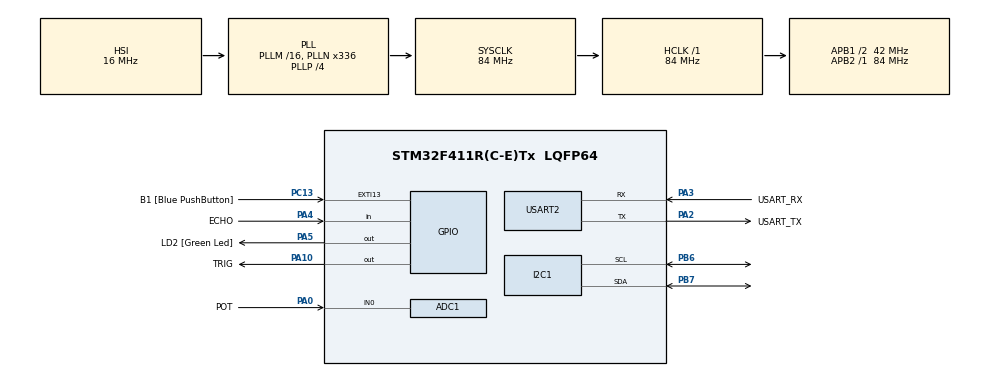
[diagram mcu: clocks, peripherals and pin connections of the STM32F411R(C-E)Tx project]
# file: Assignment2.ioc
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ADC1.Channel-1\#ChannelRegularConversion=ADC_CHANNEL_0
ADC1.NbrOfConversionFlag=1
ADC1.Rank-1\#ChannelRegularConversion=1
ADC1.SamplingTime-1\#ChannelRegularConversion=ADC_SAMPLETIME_56CYCLES
ADC1.master=1
Mcu.Family=STM32F4
Mcu.Name=STM32F411R(C-E)Tx
Mcu.Package=LQFP64
NVIC.PriorityGroup=NVIC_PRIORITYGROUP_0
NVIC.TIM2_IRQn=true\:0\:0\:false\:false\:true\:true\:true\:true
PA0-WKUP.GPIO_Label=POT
PA0-WKUP.Signal=SharedAnalog_PA0
PA10.GPIO_Label=TRIG
PA10.Signal=GPIO_Output
PA13.GPIO_Label=TMS
PA13.Mode=Serial_Wire
PA13.Signal=SYS_JTMS-SWDIO
PA14.GPIO_Label=TCK
PA14.Mode=Serial_Wire
PA14.Signal=SYS_JTCK-SWCLK
PA2.GPIO_Label=USART_TX
PA2.Mode=Asynchronous
PA2.Signal=USART2_TX
PA3.GPIO_Label=USART_RX
PA3.Mode=Asynchronous
PA3.Signal=USART2_RX
PA4.GPIO_Label=ECHO
PA4.Signal=GPIO_Input
PA5.GPIO_Label=LD2 [Green Led]
PA5.Signal=GPIO_Output
PB3.GPIO_Label=SWO
PB3.Signal=SYS_JTDO-SWO
PB6.Mode=I2C
PB6.Signal=I2C1_SCL
PB7.Mode=I2C
PB7.Signal=I2C1_SDA
PC13-ANTI_TAMP.GPIO_Label=B1 [Blue PushButton]
PC13-ANTI_TAMP.GPIO_ModeDefaultEXTI=GPIO_MODE_IT_FALLING
PC13-ANTI_TAMP.Signal=GPXTI13
PC14-OSC32_IN.Signal=RCC_OSC32_IN
PC15-OSC32_OUT.Signal=RCC_OSC32_OUT
PH0\ -\ OSC_IN.Mode=HSE-External-Oscillator
PH0\ -\ OSC_IN.Signal=RCC_OSC_IN
PH1\ -\ OSC_OUT.Mode=HSE-External-Oscillator
PH1\ -\ OSC_OUT.Signal=RCC_OSC_OUT
ProjectManager.HeapSize=0x200
ProjectManager.StackSize=0x400
ProjectManager.TargetToolchain=STM32CubeIDE
RCC.48MHZClocksFreq_Value=84000000
RCC.AHBFreq_Value=84000000
RCC.APB1CLKDivider=RCC_HCLK_DIV2
RCC.APB1Freq_Value=42000000
RCC.APB1TimFreq_Value=84000000
RCC.APB2Freq_Value=84000000
RCC.APB2TimFreq_Value=84000000
RCC.CortexFreq_Value=84000000
RCC.FLatency-AdvancedSettings=FLASH_LATENCY_2
RCC.HCLKFreq_Value=84000000
RCC.HSE_VALUE=8000000
RCC.HSI_VALUE=16000000
RCC.LSE_VALUE=32768
RCC.PLLN=336
RCC.PLLP=RCC_PLLP_DIV4
RCC.SYSCLKFreq_VALUE=84000000
RCC.SYSCLKSource=RCC_SYSCLKSOURCE_PLLCLK
RCC.VCOOutputFreq_Value=336000000
SH.SharedAnalog_PA0.0=GPIO_Analog
SH.SharedAnalog_PA0.1=ADC1_IN0,IN0
TIM1.Prescaler=83
TIM2.Period=9
TIM2.Prescaler=7199
USART2.VirtualMode=VM_ASYNC
VP_TIM1_VS_ClockSourceINT.Mode=Internal
VP_TIM2_VS_ClockSourceINT.Mode=Internal
board=NUCLEO-F411RE

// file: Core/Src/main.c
/* USER CODE BEGIN Header */
/* USER CODE END Header */
#include "main.h"

/* USER CODE BEGIN Includes */
#include <stdio.h>
#include <string.h>
#include "i2c-lcd.h"
#include "led.h"
#include "ultrasonic.h"
#include "button.h"
#include "potentiometer.h"
#include "recording.h"
#include "signals.h"
#include "led_control.h"
#include "report_generator.h"
// #define DEBUG_MODE

/* USER CODE END Includes */

ADC_HandleTypeDef hadc1;

I2C_HandleTypeDef hi2c1;

TIM_HandleTypeDef htim1;
TIM_HandleTypeDef htim2;

UART_HandleTypeDef huart2;

/* USER CODE BEGIN PV */
uint8_t buffer[50];

uint8_t buttonState = 0;
uint8_t prevButtonState = 0;
uint8_t displayToggle = 0;  // 0 = Pot view, 1 = Ultra view
uint32_t lastToggleTime = 0;
const uint32_t DISPLAY_TOGGLE_INTERVAL = 3000;  // Toggle every 3 seconds
uint8_t buttonPressCount = 0;  // Counter to track button presses

/* TIM2 interrupt callback */
void HAL_TIM_PeriodElapsedCallback(TIM_HandleTypeDef *htim) {
    Signals_HandleTimerInterrupt(htim);
}

/* Helper function to wait for a time period or detect button press */
uint8_t waitForTimeOrButtonPress(uint32_t waitTimeMs) {
    uint32_t startTime = HAL_GetTick();
    uint8_t localButtonState = buttonState; // Start with current state
    uint8_t buttonPressed = 0;

    while (HAL_GetTick() - startTime < waitTimeMs) {
        // Check for button press (with debounce)
        uint8_t currentButtonState = !HAL_GPIO_ReadPin(B1_GPIO_Port, B1_Pin);

        // Button pressed (rising edge)
        if (currentButtonState && !localButtonState) {
            HAL_Delay(50); // Simple debounce
            // Recheck to confirm it's still pressed
            if (!HAL_GPIO_ReadPin(B1_GPIO_Port, B1_Pin)) {
                // Update global button state
                buttonState = currentButtonState;
                prevButtonState = localButtonState;
                buttonPressed = 1;
                break;
            }
        }

        localButtonState = currentButtonState;
        HAL_Delay(10);
    }

    return buttonPressed;
}

/* USER CODE END PV */

void SystemClock_Config(void);
static void MX_GPIO_Init(void);
static void MX_USART2_UART_Init(void);
static void MX_I2C1_Init(void);
static void MX_TIM1_Init(void);
static void MX_ADC1_Init(void);
static void MX_TIM2_Init(void);

int main(void)
{

  /* MCU Configuration--------------------------------------------------------*/

  /* Reset of all peripherals, Initializes the Flash interface and the Systick. */
  HAL_Init();

  /* Configure the system clock */
  SystemClock_Config();

  /* Initialize all configured peripherals */
  MX_GPIO_Init();
  MX_USART2_UART_Init();
  MX_I2C1_Init();
  MX_TIM1_Init();
  MX_ADC1_Init();
  MX_TIM2_Init();
  /* USER CODE BEGIN 2 */

  lcd_init(0x27);

  LED_Init();

  Signals_Init(&htim2, &htim1, &hadc1);

  // Initialize the report generator for UART reporting only
  Report_Init(&huart2);

  // Welcome message
  lcd_clear();
  lcd_send_string("Dual Sensor");
  lcd_send_cmd(LCD_LINE2, 4);
  lcd_send_string("Recorder v1.0");

  HAL_Delay(2000);
  lcd_clear();
  lcd_send_string("Press B1 to");
  lcd_send_cmd(LCD_LINE2, 4);
  lcd_send_string("start recording");

  // Init toggle timing
  lastToggleTime = HAL_GetTick();
  uint32_t lastDisplayUpdateTime = 0;

  /* USER CODE END 2 */

  /* Infinite loop */
  while (1)
    {
	  uint32_t currentTime = HAL_GetTick();

	  /* Process LED state */
	  LED_Process();

	  /* Read button state (B1 is active low) */
	  prevButtonState = buttonState;
	  buttonState = !HAL_GPIO_ReadPin(B1_GPIO_Port, B1_Pin);  // Invert because button is active low

	  /* Button press detection (rising edge) */
	  if (buttonState && !prevButtonState) {
		  buttonPressCount++;  // Increment the button press counter

		  if (buttonPressCount == 1) {
			  // First button press
			  if (!Signals_IsRecording()) {
				  Signals_StartRecording();
				  lcd_clear();
				  lcd_send_string("REC: Potentiomtr");
			  } else {
				  Signals_StopRecording();
				  // Generate the analysis report AFTER stopping and before resetting data
				  Report_GenerateAnalysisReport(Recording_GetPotData(), Recording_GetUltraData());

				  // Display a message that recording stopped and report was generated
				  lcd_clear();
				  lcd_send_string("REC Stopped.");
				  lcd_send_cmd(LCD_LINE2, 4);
				  lcd_send_string("Report Sent (UART)");
				  HAL_Delay(2000); // Show message for a bit

				  // Prepare for next session or stats view
				  lcd_clear();
				  lcd_send_string("Press B1 for");
				  lcd_send_cmd(LCD_LINE2, 4);
				  lcd_send_string("Stats / New Rec");
			  }
		  } else if (buttonPressCount == 2) {
			  // Second button press: display detailed statistics on LCD
			  // Data stream log was already sent live during recording.
			  // Analysis report was sent when recording stopped (on first press if it was stopping).

			  // If recording was active, stop it and generate final analysis report
			  if (Signals_IsRecording()) {
				  Signals_StopRecording();
				  // Generate final report using accessor functions
				  Report_GenerateAnalysisReport(Recording_GetPotData(), Recording_GetUltraData()); // Ensure final report is sent
				  HAL_Delay(100); // Small delay
			  }

			  // Cycle through statistics windows on LCD
			  uint8_t exitStatsView = 0;

			  // Show each detailed stats window for 5 seconds or until button is pressed
			  // Window 1 - Potentiometer Basic Stats
			  Recording_ToggleDetailedStats(); // Toggle to window 1
			  Recording_UpdateDisplay();
			  if (waitForTimeOrButtonPress(5000)) { exitStatsView = 1; }

			  if (!exitStatsView) {
				  // Window 2 - Potentiometer Advanced Stats
				  Recording_ToggleDetailedStats(); // Toggle to window 2
				  Recording_UpdateDisplay();
				  if (waitForTimeOrButtonPress(5000)) { exitStatsView = 1; }
			  }

			  if (!exitStatsView) {
				  // Window 3 - Ultrasonic Stats
				  Recording_ToggleDetailedStats(); // Toggle to window 3
				  Recording_UpdateDisplay();
				  if (waitForTimeOrButtonPress(5000)) { exitStatsView = 1; }
			  }

			  if (!exitStatsView) {
				  // Window 4 - Combined Stats
				  Recording_ToggleDetailedStats(); // Toggle to window 4
				  Recording_UpdateDisplay();
				  if (waitForTimeOrButtonPress(5000)) { exitStatsView = 1; }
			  }

			  // Reset to normal view (Window 0) for next time
			  Recording_ToggleDetailedStats(); // Toggle back to 0

			  // Reset for new recording session
			  Recording_Init();
			  resetStaticTrackers(); // Reset tracking variables in signals.c

			  lcd_clear();
			  lcd_send_string("Press B1 to");
			  lcd_send_cmd(LCD_LINE2, 4);
			  lcd_send_string("start recording");

			  buttonPressCount = 0; // Reset for next cycle
			  buttonState = 0;
			  prevButtonState = 0;
			  HAL_Delay(100);
		  }
	  }

	  /* Toggle display if needed */
	  if (currentTime - lastToggleTime > DISPLAY_TOGGLE_INTERVAL) {
		  displayToggle = !displayToggle;
		  lastToggleTime = currentTime;
	  }

	  /* Update display at reasonable rate (5Hz is plenty for LCD) */
	  if (currentTime - lastDisplayUpdateTime >= 200) {
		  /* Display statistics on LCD based on current view */
		  if (displayToggle == 0) {
			  Signals_DisplayPotView();
		  } else {
			  Signals_DisplayUltraView();
		  }
		  lastDisplayUpdateTime = currentTime;
	  }

	  /* Small delay for system performance */
	  HAL_Delay(1);

    }
}

void SystemClock_Config(void)
{
  RCC_OscInitTypeDef RCC_OscInitStruct = {0};
  RCC_ClkInitTypeDef RCC_ClkInitStruct = {0};

  /** Configure the main internal regulator output voltage
  */
  __HAL_RCC_PWR_CLK_ENABLE();
  __HAL_PWR_VOLTAGESCALING_CONFIG(PWR_REGULATOR_VOLTAGE_SCALE1);

  /** Initializes the RCC Oscillators according to the specified parameters
  * in the RCC_OscInitTypeDef structure.
  */
  RCC_OscInitStruct.OscillatorType = RCC_OSCILLATORTYPE_HSI;
  RCC_OscInitStruct.HSIState = RCC_HSI_ON;
  RCC_OscInitStruct.HSICalibrationValue = RCC_HSICALIBRATION_DEFAULT;
  RCC_OscInitStruct.PLL.PLLState = RCC_PLL_ON;
  RCC_OscInitStruct.PLL.PLLSource = RCC_PLLSOURCE_HSI;
  RCC_OscInitStruct.PLL.PLLM = 16;
  RCC_OscInitStruct.PLL.PLLN = 336;
  RCC_OscInitStruct.PLL.PLLP = RCC_PLLP_DIV4;
  RCC_OscInitStruct.PLL.PLLQ = 4;
  if (HAL_RCC_OscConfig(&RCC_OscInitStruct) != HAL_OK)
  {
    Error_Handler();
  }

  /** Initializes the CPU, AHB and APB buses clocks
  */
  RCC_ClkInitStruct.ClockType = RCC_CLOCKTYPE_HCLK|RCC_CLOCKTYPE_SYSCLK
                              |RCC_CLOCKTYPE_PCLK1|RCC_CLOCKTYPE_PCLK2;
  RCC_ClkInitStruct.SYSCLKSource = RCC_SYSCLKSOURCE_PLLCLK;
  RCC_ClkInitStruct.AHBCLKDivider = RCC_SYSCLK_DIV1;
  RCC_ClkInitStruct.APB1CLKDivider = RCC_HCLK_DIV2;
  RCC_ClkInitStruct.APB2CLKDivider = RCC_HCLK_DIV1;

  if (HAL_RCC_ClockConfig(&RCC_ClkInitStruct, FLASH_LATENCY_2) != HAL_OK)
  {
    Error_Handler();
  }
}

static void MX_ADC1_Init(void)
{

  ADC_ChannelConfTypeDef sConfig = {0};

  /** Configure the global features of the ADC (Clock, Resolution, Data Alignment and number of conversion)
  */
  hadc1.Instance = ADC1;
  hadc1.Init.ClockPrescaler = ADC_CLOCK_SYNC_PCLK_DIV4;
  hadc1.Init.Resolution = ADC_RESOLUTION_12B;
  hadc1.Init.ScanConvMode = DISABLE;
  hadc1.Init.ContinuousConvMode = DISABLE;
  hadc1.Init.DiscontinuousConvMode = DISABLE;
  hadc1.Init.ExternalTrigConvEdge = ADC_EXTERNALTRIGCONVEDGE_NONE;
  hadc1.Init.ExternalTrigConv = ADC_SOFTWARE_START;
  hadc1.Init.DataAlign = ADC_DATAALIGN_RIGHT;
  hadc1.Init.NbrOfConversion = 1;
  hadc1.Init.DMAContinuousRequests = DISABLE;
  hadc1.Init.EOCSelection = ADC_EOC_SINGLE_CONV;
  if (HAL_ADC_Init(&hadc1) != HAL_OK)
  {
    Error_Handler();
  }

  /** Configure for the selected ADC regular channel its corresponding rank in the sequencer and its sample time.
  */
  sConfig.Channel = ADC_CHANNEL_0;
  sConfig.Rank = 1;
  sConfig.SamplingTime = ADC_SAMPLETIME_56CYCLES;
  if (HAL_ADC_ConfigChannel(&hadc1, &sConfig) != HAL_OK)
  {
    Error_Handler();
  }

}

static void MX_I2C1_Init(void)
{

  hi2c1.Instance = I2C1;
  hi2c1.Init.ClockSpeed = 100000;
  hi2c1.Init.DutyCycle = I2C_DUTYCYCLE_2;
  hi2c1.Init.OwnAddress1 = 0;
  hi2c1.Init.AddressingMode = I2C_ADDRESSINGMODE_7BIT;
  hi2c1.Init.DualAddressMode = I2C_DUALADDRESS_DISABLE;
  hi2c1.Init.OwnAddress2 = 0;
  hi2c1.Init.GeneralCallMode = I2C_GENERALCALL_DISABLE;
  hi2c1.Init.NoStretchMode = I2C_NOSTRETCH_DISABLE;
  if (HAL_I2C_Init(&hi2c1) != HAL_OK)
  {
    Error_Handler();
  }

}

static void MX_TIM1_Init(void)
{

  TIM_ClockConfigTypeDef sClockSourceConfig = {0};
  TIM_MasterConfigTypeDef sMasterConfig = {0};

  htim1.Instance = TIM1;
  htim1.Init.Prescaler = 83;
  htim1.Init.CounterMode = TIM_COUNTERMODE_UP;
  htim1.Init.Period = 65535;
  htim1.Init.ClockDivision = TIM_CLOCKDIVISION_DIV1;
  htim1.Init.RepetitionCounter = 0;
  htim1.Init.AutoReloadPreload = TIM_AUTORELOAD_PRELOAD_DISABLE;
  if (HAL_TIM_Base_Init(&htim1) != HAL_OK)
  {
    Error_Handler();
  }
  sClockSourceConfig.ClockSource = TIM_CLOCKSOURCE_INTERNAL;
  if (HAL_TIM_ConfigClockSource(&htim1, &sClockSourceConfig) != HAL_OK)
  {
    Error_Handler();
  }
  sMasterConfig.MasterOutputTrigger = TIM_TRGO_RESET;
  sMasterConfig.MasterSlaveMode = TIM_MASTERSLAVEMODE_DISABLE;
  if (HAL_TIMEx_MasterConfigSynchronization(&htim1, &sMasterConfig) != HAL_OK)
  {
    Error_Handler();
  }

}

static void MX_TIM2_Init(void)
{

  TIM_ClockConfigTypeDef sClockSourceConfig = {0};
  TIM_MasterConfigTypeDef sMasterConfig = {0};

  htim2.Instance = TIM2;
  htim2.Init.Prescaler = 7199;
  htim2.Init.CounterMode = TIM_COUNTERMODE_UP;
  htim2.Init.Period = 9;
  htim2.Init.ClockDivision = TIM_CLOCKDIVISION_DIV1;
  htim2.Init.AutoReloadPreload = TIM_AUTORELOAD_PRELOAD_DISABLE;
  if (HAL_TIM_Base_Init(&htim2) != HAL_OK)
  {
    Error_Handler();
  }
  sClockSourceConfig.ClockSource = TIM_CLOCKSOURCE_INTERNAL;
  if (HAL_TIM_ConfigClockSource(&htim2, &sClockSourceConfig) != HAL_OK)
  {
    Error_Handler();
  }
  sMasterConfig.MasterOutputTrigger = TIM_TRGO_RESET;
  sMasterConfig.MasterSlaveMode = TIM_MASTERSLAVEMODE_DISABLE;
  if (HAL_TIMEx_MasterConfigSynchronization(&htim2, &sMasterConfig) != HAL_OK)
  {
    Error_Handler();
  }

}

static void MX_USART2_UART_Init(void)
{

  huart2.Instance = USART2;
  huart2.Init.BaudRate = 115200;
  huart2.Init.WordLength = UART_WORDLENGTH_8B;
  huart2.Init.StopBits = UART_STOPBITS_1;
  huart2.Init.Parity = UART_PARITY_NONE;
  huart2.Init.Mode = UART_MODE_TX_RX;
  huart2.Init.HwFlowCtl = UART_HWCONTROL_NONE;
  huart2.Init.OverSampling = UART_OVERSAMPLING_16;
  if (HAL_UART_Init(&huart2) != HAL_OK)
  {
    Error_Handler();
  }

}

static void MX_GPIO_Init(void)
{
  GPIO_InitTypeDef GPIO_InitStruct = {0};

  /* GPIO Ports Clock Enable */
  __HAL_RCC_GPIOC_CLK_ENABLE();
  __HAL_RCC_GPIOH_CLK_ENABLE();
  __HAL_RCC_GPIOA_CLK_ENABLE();
  __HAL_RCC_GPIOB_CLK_ENABLE();

  /*Configure GPIO pin Output Level */
  HAL_GPIO_WritePin(GPIOA, LD2_Pin|TRIG_Pin, GPIO_PIN_RESET);

  /*Configure GPIO pin : B1_Pin */
  GPIO_InitStruct.Pin = B1_Pin;
  GPIO_InitStruct.Mode = GPIO_MODE_IT_FALLING;
  GPIO_InitStruct.Pull = GPIO_NOPULL;
  HAL_GPIO_Init(B1_GPIO_Port, &GPIO_InitStruct);

  /*Configure GPIO pin : ECHO_Pin */
  GPIO_InitStruct.Pin = ECHO_Pin;
  GPIO_InitStruct.Mode = GPIO_MODE_INPUT;
  GPIO_InitStruct.Pull = GPIO_NOPULL;
  HAL_GPIO_Init(ECHO_GPIO_Port, &GPIO_InitStruct);

  /*Configure GPIO pins : LD2_Pin TRIG_Pin */
  GPIO_InitStruct.Pin = LD2_Pin|TRIG_Pin;
  GPIO_InitStruct.Mode = GPIO_MODE_OUTPUT_PP;
  GPIO_InitStruct.Pull = GPIO_NOPULL;
  GPIO_InitStruct.Speed = GPIO_SPEED_FREQ_LOW;
  HAL_GPIO_Init(GPIOA, &GPIO_InitStruct);

}

void Error_Handler(void)
{
  __disable_irq();
  while (1)
  {
  }
}
